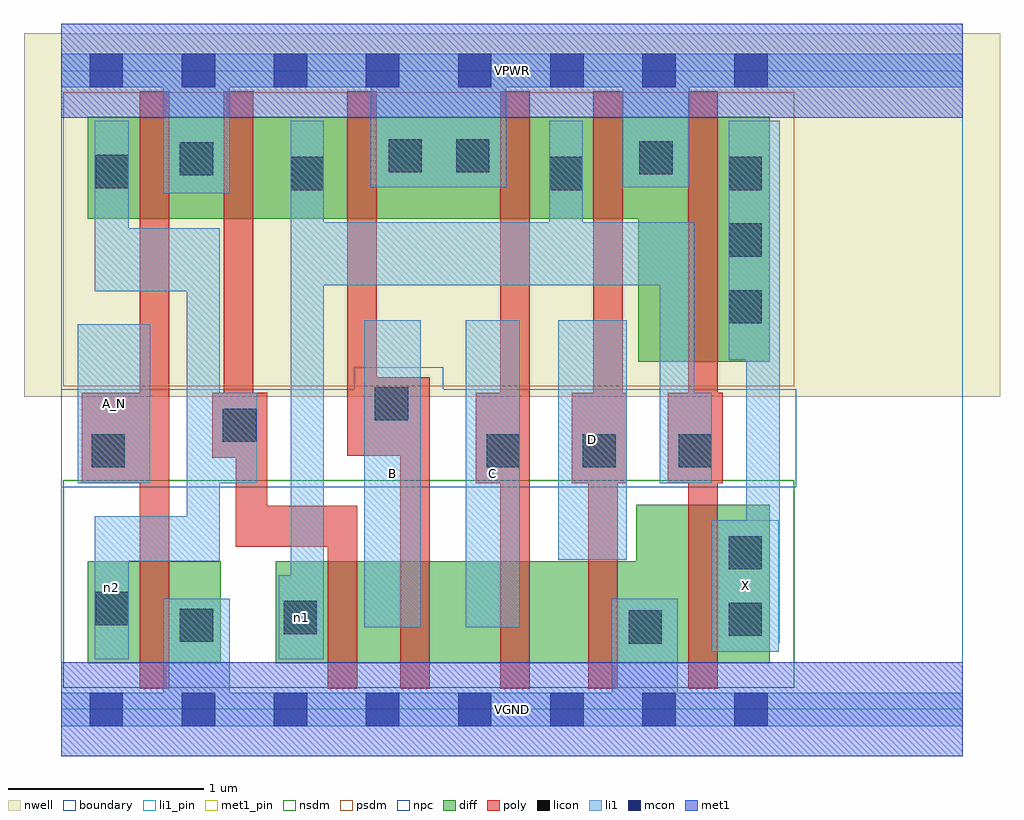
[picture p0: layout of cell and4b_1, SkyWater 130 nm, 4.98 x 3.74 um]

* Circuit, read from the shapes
.subckt and4b_1 A_N B C D VGND VPWR X n1 n2
XM1 VGND A_N n2 VSUBS sky130_fd_pr__nfet_01v8 w=0.52 l=0.15
XM2 n3 n2 n1 VSUBS sky130_fd_pr__nfet_01v8 w=0.52 l=0.15
XM3 n4 B n3 VSUBS sky130_fd_pr__nfet_01v8 w=0.52 l=0.15
XM4 n5 C n4 VSUBS sky130_fd_pr__nfet_01v8 w=0.52 l=0.15
XM5 VGND D n5 VSUBS sky130_fd_pr__nfet_01v8 w=0.52 l=0.15
XM6 X n1 VGND VSUBS sky130_fd_pr__nfet_01v8 w=0.81 l=0.15
XM7 VPWR A_N n2 n6 sky130_fd_pr__pfet_01v8 w=0.52 l=0.15
XM8 n1 n2 VPWR n6 sky130_fd_pr__pfet_01v8 w=0.52 l=0.15
XM9 VPWR B n1 n6 sky130_fd_pr__pfet_01v8 w=0.52 l=0.15
XM10 n1 C VPWR n6 sky130_fd_pr__pfet_01v8 w=0.52 l=0.15
XM11 VPWR D n1 n6 sky130_fd_pr__pfet_01v8 w=0.52 l=0.15
XM12 X n1 VPWR n6 sky130_fd_pr__pfet_01v8 w=1.25 l=0.15
.ends

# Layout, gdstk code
import gdstk
lib = gdstk.Library(unit=1e-6, precision=1e-09)
def R(c, l, rs):  # rectangles x0, y0, x1, y1
    for r in rs: c.add(gdstk.rectangle(r[:2], r[2:], *l))
def A(c, l, x, y, w, h, nx, ny, dx, dy):  # array of equal rectangles
    R(c, l, [(x+i*dx, y+j*dy, x+i*dx+w, y+j*dy+h) for i in range(nx) for j in range(ny)])
nwell = (64, 20)
diff = (65, 20)
poly = (66, 20)
licon = (66, 44)
li1_pin = (67, 16)
li1 = (67, 20)
mcon = (67, 44)
met1_pin = (68, 16)
met1 = (68, 20)
nsdm = (93, 44)
psdm = (94, 20)
npc = (95, 20)
boundary = (235, 4)

and4b_1 = lib.new_cell('and4b_1')
R(and4b_1, nwell, [(-0.19,1.595,4.79,3.45), (0,1.595,4.6,3.45)])
R(and4b_1, diff, [(0.135,0.235,0.815,0.755), (1.095,0.235,3.615,0.755), (2.935,0.235,3.615,1.045), (2.945,1.775,3.615,3.025), (0.135,2.505,3.615,3.025)])
R(and4b_1, poly, [(0.4,0.105,0.55,3.155), (1.36,0.105,1.51,1.04), (1.73,0.105,1.88,1.695), (2.24,0.105,2.39,3.155), (2.69,0.105,2.84,1.615), (3.2,0.105,3.35,3.155), (0.89,0.83,1.51,1.04), (0.89,0.83,1.05,1.615), (0.105,1.155,0.55,1.615), (2.115,1.155,2.39,1.615), (2.605,1.155,2.885,1.615), (2.715,1.155,2.865,3.155), (3.095,1.155,3.375,1.615), (0.77,1.285,1.05,1.615), (0.83,1.285,0.98,3.155), (1.46,1.295,1.61,3.155), (1.46,1.295,1.88,1.695)])
A(and4b_1, licon, 2.17, 1.235, 0.17, 0.17, 3, 1, 0.49, 0)
A(and4b_1, licon, 3.405, 1.97, 0.17, 0.17, 1, 3, 0, 0.34)
R(and4b_1, licon, [(2.895,0.335,3.065,0.505), (0.605,0.345,0.775,0.515), (3.405,0.375,3.575,0.545), (1.135,0.385,1.305,0.555), (0.175,0.43,0.345,0.6), (3.405,0.715,3.575,0.885), (0.155,1.235,0.325,1.405), (0.825,1.365,0.995,1.535), (1.6,1.475,1.77,1.645), (1.17,2.65,1.34,2.82), (2.49,2.65,2.66,2.82), (0.175,2.66,0.345,2.83), (0.605,2.725,0.775,2.895), (2.95,2.73,3.12,2.9), (1.67,2.74,1.84,2.91), (2.015,2.74,2.185,2.91)])
R(and4b_1, li1_pin, [(3.32,0.295,3.66,0.965), (1.545,0.42,1.835,1.985), (2.065,0.42,2.34,1.985), (2.535,0.765,2.885,1.985), (0.085,1.155,0.455,1.965)])
R(and4b_1, li1, [(0,-0.085,4.6,0.085), (0.52,-0.085,0.86,0.565), (2.81,-0.085,3.145,0.565), (0.17,0.255,0.345,0.985), (1.11,0.255,1.34,0.685), (1.17,0.255,1.34,3.005), (3.32,0.295,3.66,0.965), (3.495,0.34,3.665,3.005), (1.545,0.42,1.835,1.985), (2.065,0.42,2.34,1.985), (0.17,0.755,0.81,0.985), (0.64,0.755,0.81,2.455), (2.535,0.765,2.885,1.985), (0.085,1.155,0.455,1.965), (0.64,1.155,1,1.615), (3.055,1.155,3.23,2.485), (3.055,1.155,3.32,1.615), (3.405,1.785,3.665,3.005), (0.17,2.135,0.345,3.005), (0.17,2.135,0.81,2.455), (1.17,2.165,3.23,2.485), (2.49,2.165,2.66,3.005), (0.52,2.635,0.86,3.345), (1.58,2.665,2.27,3.345), (2.865,2.665,3.205,3.345), (0,3.175,4.6,3.345)])
A(and4b_1, mcon, 0.145, -0.085, 0.17, 0.17, 8, 2, 0.47, 3.26)
R(and4b_1, met1_pin, [(0,-0.24,4.6,0.24), (0,3.02,4.6,3.5)])
R(and4b_1, met1, [(0,-0.24,4.6,0.24), (0,3.02,4.6,3.5)])
R(and4b_1, nsdm, [(0.01,0.11,3.74,1.17)])
R(and4b_1, psdm, [(0.01,1.65,3.74,3.15)])
R(and4b_1, npc, [(0,1.135,3.75,1.635), (1.495,1.135,1.95,1.745)])
R(and4b_1, boundary, [(0,0,4.6,3.26)])
and4b_1.add(gdstk.Label('A_N', (0.27,1.56), layer=67, texttype=5))
and4b_1.add(gdstk.Label('B', (1.69,1.202), layer=67, texttype=5))
and4b_1.add(gdstk.Label('C', (2.202,1.202), layer=67, texttype=5))
and4b_1.add(gdstk.Label('D', (2.71,1.375), layer=67, texttype=5))
and4b_1.add(gdstk.Label('X', (3.49,0.63), layer=67, texttype=5))
and4b_1.add(gdstk.Label('n2', (0.257,0.62), layer=67, texttype=5))
and4b_1.add(gdstk.Label('n1', (1.225,0.47), layer=67, texttype=5))
and4b_1.add(gdstk.Label('VPWR', (2.3,3.26), layer=68, texttype=5))
and4b_1.add(gdstk.Label('VGND', (2.3,0), layer=68, texttype=5))
and4b_1.add(gdstk.Label('A_N', (0.27,1.56), layer=67, texttype=16))
and4b_1.add(gdstk.Label('B', (1.69,1.202), layer=67, texttype=16))
and4b_1.add(gdstk.Label('C', (2.202,1.202), layer=67, texttype=16))
and4b_1.add(gdstk.Label('D', (2.71,1.375), layer=67, texttype=16))
and4b_1.add(gdstk.Label('X', (3.49,0.63), layer=67, texttype=16))
and4b_1.add(gdstk.Label('VPWR', (2.3,3.26), layer=68, texttype=16))
and4b_1.add(gdstk.Label('VGND', (2.3,0), layer=68, texttype=16))

lib.write_gds('and4b_1.gds')
